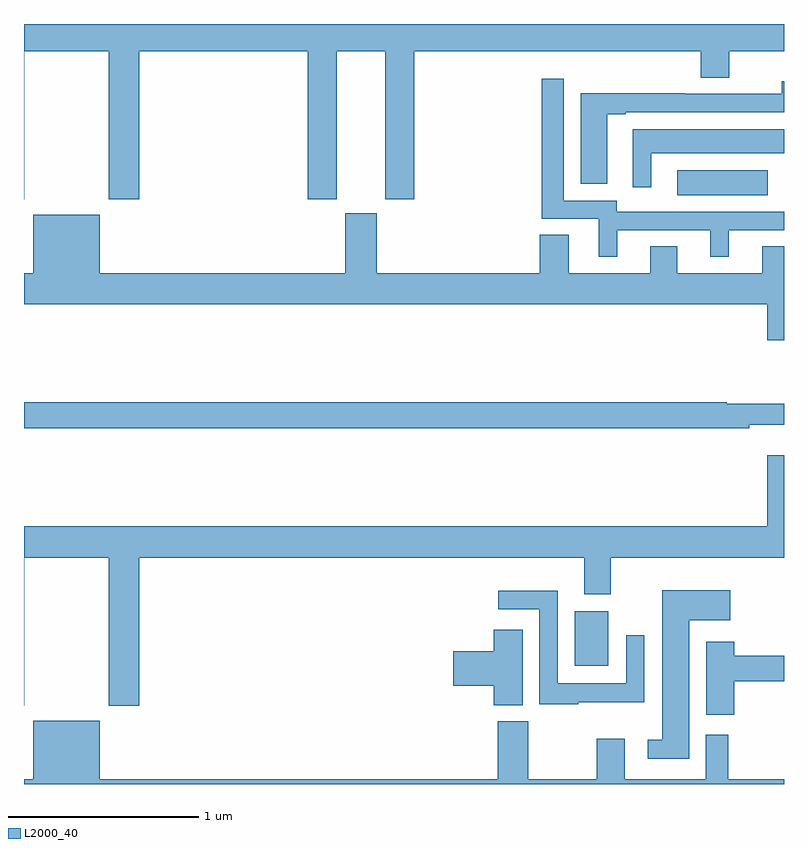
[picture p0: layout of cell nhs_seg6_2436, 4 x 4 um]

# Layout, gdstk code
import gdstk
lib = gdstk.Library(unit=1e-6, precision=1e-09)
def R(c, l, rs):  # rectangles x0, y0, x1, y1
    for r in rs: c.add(gdstk.rectangle(r[:2], r[2:], *l))
def P(c, l, *ps):  # polygons
    for p in ps: c.add(gdstk.Polygon(p, *l))
L2000_40 = (2000, 40)

nhs_seg6_2436 = lib.new_cell('nhs_seg6_2436')
R(nhs_seg6_2436, L2000_40, [(259.898,924.122,260.074,924.409), (260.439,926.6,260.914,926.731)])
P(nhs_seg6_2436, L2000_40, [(257.001,927.356),(257.446,927.356),(257.446,926.577),(257.606,926.577),(257.606,927.356),(258.494,927.356),(258.494,926.577),(258.646,926.577),(258.646,927.356),(258.902,927.356),(258.902,926.577),(259.055,926.577),(259.055,927.356),(260.561,927.356),(260.561,927.217),(260.713,927.217),(260.713,927.356),(261,927.356),(261,927.5),(257,927.5),(257,926.577),(257.001,926.577)],
  [(260.122,926.415),(260.612,926.415),(260.612,926.274),(260.71,926.274),(260.71,926.415),(261,926.415),(261,926.511),(260.121,926.511),(260.121,926.571),(259.842,926.571),(259.842,927.211),(259.726,927.211),(259.726,926.475),(260.024,926.475),(260.024,926.274),(260.122,926.274)],
  [(260.071,927.024),(260.167,927.024),(260.167,927.036),(261,927.036),(261,927.199),(260.987,927.199),(260.987,927.132),(260.477,927.132),(260.477,927.135),(259.931,927.135),(259.931,926.658),(260.071,926.658)],
  [(260.302,926.819),(261,926.819),(261,926.947),(260.204,926.947),(260.204,926.64),(260.302,926.64)],
  [(261,926.33),(260.885,926.33),(260.885,926.188),(260.437,926.188),(260.437,926.33),(260.297,926.33),(260.297,926.188),(259.867,926.188),(259.867,926.39),(259.715,926.39),(259.715,926.188),(258.856,926.188),(258.856,926.505),(258.692,926.505),(258.692,926.188),(257.398,926.188),(257.398,926.497),(257.048,926.497),(257.048,926.188),(257,926.188),(257,926.024),(260.912,926.024),(260.912,925.836),(261,925.836)],
  [(260.816,925.391),(261,925.391),(261,925.501),(260.699,925.501),(260.699,925.508),(257,925.508),(257,925.372),(260.816,925.372)],
  [(257.001,924.692),(257.446,924.692),(257.446,923.913),(257.606,923.913),(257.606,924.692),(259.949,924.692),(259.949,924.498),(260.089,924.498),(260.089,924.692),(261,924.692),(261,925.231),(260.912,925.231),(260.912,924.856),(257,924.856),(257,923.913),(257.001,923.913)],
  [(260.5,924.362),(260.716,924.362),(260.716,924.52),(260.36,924.52),(260.36,923.732),(260.283,923.732),(260.283,923.634),(260.5,923.634)],
  [(259.916,923.93),(260.265,923.93),(260.265,924.283),(260.169,924.283),(260.169,924.031),(259.809,924.031),(259.809,924.517),(259.497,924.517),(259.497,924.42),(259.713,924.42),(259.713,923.92),(259.916,923.92)],
  [(259.624,924.313),(259.472,924.313),(259.472,924.2),(259.26,924.2),(259.26,924.017),(259.472,924.017),(259.472,923.914),(259.624,923.914)],
  [(260.738,924.04),(261,924.04),(261,924.176),(260.738,924.176),(260.738,924.25),(260.591,924.25),(260.591,923.865),(260.738,923.865)],
  [(261,923.524),(260.707,923.524),(260.707,923.758),(260.588,923.758),(260.588,923.524),(260.161,923.524),(260.161,923.737),(260.014,923.737),(260.014,923.524),(259.653,923.524),(259.653,923.829),(259.493,923.829),(259.493,923.524),(257.398,923.524),(257.398,923.833),(257.048,923.833),(257.048,923.524),(257,923.524),(257,923.5),(261,923.5)])

lib.write_gds('nhs_seg6_2436.gds')
